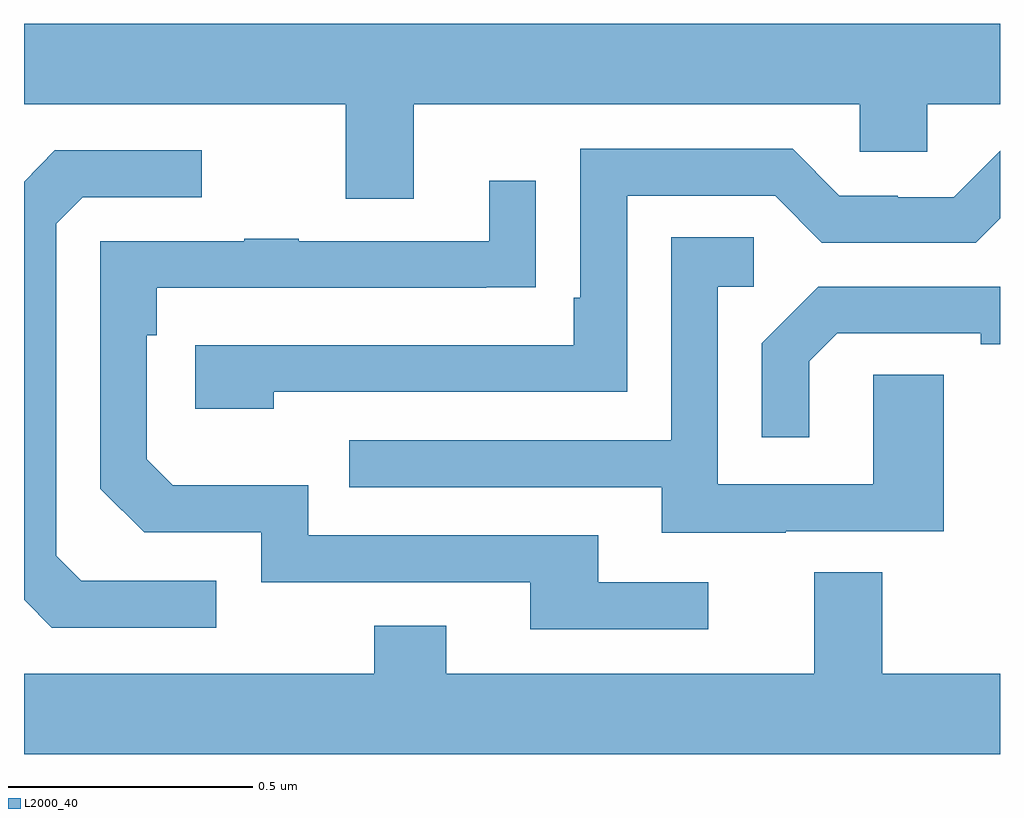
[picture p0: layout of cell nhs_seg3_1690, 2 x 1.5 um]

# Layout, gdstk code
import gdstk
lib = gdstk.Library(unit=1e-6, precision=1e-09)
def P(c, l, *ps):  # polygons
    for p in ps: c.add(gdstk.Polygon(p, *l))
L2000_40 = (2000, 40)

nhs_seg3_1690 = lib.new_cell('nhs_seg3_1690')
P(nhs_seg3_1690, L2000_40, [(132.799,668.948),(133.713,668.948),(133.713,668.85),(133.851,668.85),(133.851,668.948),(134,668.948),(134,669.112),(132,669.112),(132,668.948),(132.659,668.948),(132.659,668.754),(132.799,668.754)],
  [(132.512,668.358),(133.236,668.358),(133.236,668.76),(133.539,668.76),(133.635,668.664),(133.95,668.664),(134,668.714),(134,668.852),(133.905,668.757),(133.79,668.757),(133.79,668.76),(133.671,668.76),(133.575,668.856),(133.14,668.856),(133.14,668.551),(133.127,668.551),(133.127,668.454),(132.351,668.454),(132.351,668.324),(132.512,668.324)],
  [(132.394,667.971),(132.117,667.971),(132.066,668.022),(132.066,668.703),(132.12,668.757),(132.364,668.757),(132.364,668.853),(132.063,668.853),(132,668.789),(132,667.932),(132.057,667.875),(132.394,667.875)],
  [(133.402,667.968),(133.177,667.968),(133.177,668.064),(132.582,668.064),(132.582,668.167),(132.305,668.167),(132.252,668.22),(132.252,668.474),(132.272,668.474),(132.272,668.571),(132.947,668.571),(132.947,668.572),(133.049,668.572),(133.049,668.791),(132.953,668.791),(132.953,668.667),(132.563,668.667),(132.563,668.672),(132.451,668.672),(132.451,668.667),(132.156,668.667),(132.156,668.16),(132.246,668.07),(132.486,668.07),(132.486,667.968),(133.037,667.968),(133.037,667.872),(133.402,667.872)],
  [(133.561,668.073),(133.885,668.073),(133.885,668.393),(133.74,668.393),(133.74,668.169),(133.422,668.169),(133.422,668.574),(133.495,668.574),(133.495,668.675),(133.326,668.675),(133.326,668.259),(132.667,668.259),(132.667,668.163),(133.307,668.163),(133.307,668.069),(133.561,668.069)],
  [(133.609,668.421),(133.666,668.478),(133.961,668.478),(133.961,668.456),(134,668.456),(134,668.574),(133.628,668.574),(133.512,668.458),(133.512,668.265),(133.609,668.265)],
  [(134,667.78),(133.759,667.78),(133.759,667.988),(133.619,667.988),(133.619,667.78),(132.865,667.78),(132.865,667.879),(132.718,667.879),(132.718,667.78),(132,667.78),(132,667.616),(134,667.616)])

lib.write_gds('nhs_seg3_1690.gds')
